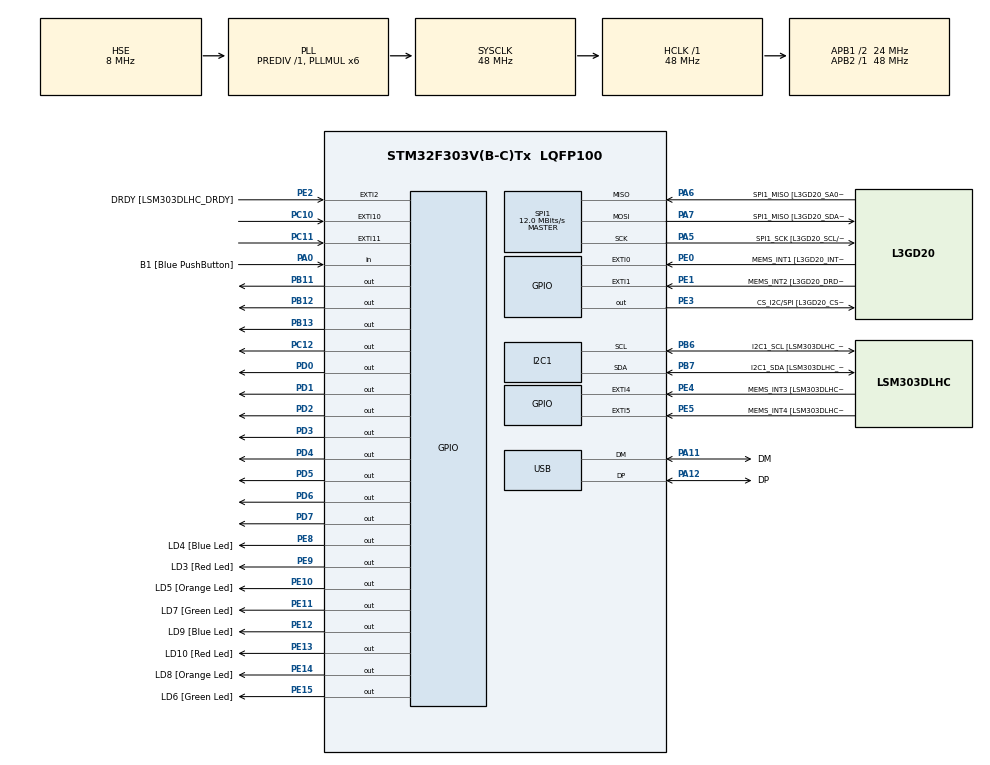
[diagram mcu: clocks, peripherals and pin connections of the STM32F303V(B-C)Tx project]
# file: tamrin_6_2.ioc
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I2C1.Timing=0x2000090E
I2C1.Timing-I2C=0x2000090E
Mcu.Family=STM32F3
Mcu.Name=STM32F303V(B-C)Tx
Mcu.Package=LQFP100
NVIC.EXTI15_10_IRQn=true\:0\:0\:false\:false\:true\:true\:true\:true
NVIC.PriorityGroup=NVIC_PRIORITYGROUP_0
PA0.GPIO_Label=B1 [Blue PushButton]
PA0.Signal=GPIO_Input
PA11.GPIO_Label=DM
PA11.Mode=Device
PA11.Signal=USB_DM
PA12.GPIO_Label=DP
PA12.Mode=Device
PA12.Signal=USB_DP
PA13.GPIO_Label=SWDIO
PA13.Mode=Serial_Wire
PA13.Signal=SYS_JTMS-SWDIO
PA14.GPIO_Label=SWCLK
PA14.Mode=Serial_Wire
PA14.Signal=SYS_JTCK-SWCLK
PA5.GPIO_Label=SPI1_SCK [L3GD20_SCL/SPC]
PA5.Mode=Full_Duplex_Master
PA5.Signal=SPI1_SCK
PA6.GPIO_Label=SPI1_MISO [L3GD20_SA0/SDO]
PA6.Mode=Full_Duplex_Master
PA6.Signal=SPI1_MISO
PA7.GPIO_Label=SPI1_MISO [L3GD20_SDA/SDI/SDO]
PA7.Mode=Full_Duplex_Master
PA7.Signal=SPI1_MOSI
PB11.Signal=GPIO_Output
PB12.Signal=GPIO_Output
PB13.Signal=GPIO_Output
PB3.GPIO_Label=SWO
PB3.Signal=SYS_JTDO-TRACESWO
PB6.GPIO_Label=I2C1_SCL [LSM303DLHC_SCL]
PB6.GPIO_Pu=GPIO_PULLUP
PB6.Mode=I2C
PB6.Signal=I2C1_SCL
PB7.GPIO_Label=I2C1_SDA [LSM303DLHC_SDA]
PB7.GPIO_Pu=GPIO_PULLUP
PB7.Mode=I2C
PB7.Signal=I2C1_SDA
PC10.GPIO_PuPd=GPIO_PULLDOWN
PC10.Signal=GPXTI10
PC11.GPIO_PuPd=GPIO_PULLDOWN
PC11.Signal=GPXTI11
PC12.Signal=GPIO_Output
PC14-OSC32_IN.GPIO_Label=OSC32_IN
PC14-OSC32_IN.Signal=RCC_OSC32_IN
PC15-OSC32_OUT.GPIO_Label=OSC32_OUT
PC15-OSC32_OUT.Signal=RCC_OSC32_OUT
PD0.Signal=GPIO_Output
PD1.Signal=GPIO_Output
PD2.Signal=GPIO_Output
PD3.Signal=GPIO_Output
PD4.Signal=GPIO_Output
PD5.Signal=GPIO_Output
PD6.Signal=GPIO_Output
PD7.Signal=GPIO_Output
PE0.GPIO_Label=MEMS_INT1 [L3GD20_INT1]
PE0.GPIO_ModeDefaultEXTI=GPIO_MODE_EVT_RISING
PE0.Signal=GPXTI0
PE1.GPIO_Label=MEMS_INT2 [L3GD20_DRDY/INT2]
PE1.GPIO_ModeDefaultEXTI=GPIO_MODE_EVT_RISING
PE1.Signal=GPXTI1
PE10.GPIO_Label=LD5 [Orange Led]
PE10.Signal=GPIO_Output
PE11.GPIO_Label=LD7 [Green Led]
PE11.Signal=GPIO_Output
PE12.GPIO_Label=LD9 [Blue Led]
PE12.Signal=GPIO_Output
PE13.GPIO_Label=LD10 [Red Led]
PE13.Signal=GPIO_Output
PE14.GPIO_Label=LD8 [Orange Led]
PE14.Signal=GPIO_Output
PE15.GPIO_Label=LD6 [Green Led]
PE15.Signal=GPIO_Output
PE2.GPIO_Label=DRDY [LSM303DLHC_DRDY]
PE2.GPIO_ModeDefaultEXTI=GPIO_MODE_EVT_RISING
PE2.Signal=GPXTI2
PE3.GPIO_Label=CS_I2C/SPI [L3GD20_CS_I2C/SPI]
PE3.Signal=GPIO_Output
PE4.GPIO_Label=MEMS_INT3 [LSM303DLHC_INT1]
PE4.GPIO_ModeDefaultEXTI=GPIO_MODE_EVT_RISING
PE4.Signal=GPXTI4
PE5.GPIO_Label=MEMS_INT4 [LSM303DLHC_INT2]
PE5.GPIO_ModeDefaultEXTI=GPIO_MODE_EVT_RISING
PE5.Signal=GPXTI5
PE8.GPIO_Label=LD4 [Blue Led]
PE8.Signal=GPIO_Output
PE9.GPIO_Label=LD3 [Red Led]
PE9.Signal=GPIO_Output
PF0-OSC_IN.GPIO_Label=OSC_IN
PF0-OSC_IN.Mode=HSE-External-Clock-Source
PF0-OSC_IN.Signal=RCC_OSC_IN
PF1-OSC_OUT.GPIO_Label=OSC_OUT
PF1-OSC_OUT.Signal=RCC_OSC_OUT
ProjectManager.HeapSize=0x200
ProjectManager.StackSize=0x400
ProjectManager.TargetToolchain=STM32CubeIDE
RCC.AHBFreq_Value=48000000
RCC.APB1CLKDivider=RCC_HCLK_DIV2
RCC.APB1Freq_Value=24000000
RCC.APB1TimFreq_Value=48000000
RCC.APB2Freq_Value=48000000
RCC.APB2TimFreq_Value=48000000
RCC.CortexFreq_Value=48000000
RCC.HCLKFreq_Value=48000000
RCC.HSE_VALUE=8000000
RCC.HSI_VALUE=8000000
RCC.LSE_VALUE=32768
RCC.PLLMUL=RCC_PLL_MUL6
RCC.SYSCLKFreq_VALUE=48000000
RCC.SYSCLKSourceVirtual=RCC_SYSCLKSOURCE_PLLCLK
RCC.USBFreq_Value=48000000
SPI1.BaudRatePrescaler=SPI_BAUDRATEPRESCALER_4
SPI1.BaudRatePrescaler-Full_Duplex_Master=SPI_BAUDRATEPRESCALER_2
SPI1.CalculateBaudRate=12.0 MBits/s
SPI1.CalculateBaudRate-Full_Duplex_Master=24.0 MBits/s
SPI1.Direction=SPI_DIRECTION_2LINES
SPI1.Mode=SPI_MODE_MASTER
SPI1.Mode-Full_Duplex_Master=SPI_MODE_MASTER
SPI1.VirtualType=VM_MASTER
board=STM32F3DISCOVERY

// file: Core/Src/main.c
/* USER CODE BEGIN Header */
/**
  ******************************************************************************
  * @file           : main.c
  * @brief          : Main program body
  ******************************************************************************
  * @attention
  *
  * Copyright (c) 2024 STMicroelectronics.
  * All rights reserved.
  *
  * This software is licensed under terms that can be found in the LICENSE file
  * in the root directory of this software component.
  * If no LICENSE file comes with this software, it is provided AS-IS.
  *
  ******************************************************************************
  */
/* USER CODE END Header */
#include "main.h"

I2C_HandleTypeDef hi2c1;

SPI_HandleTypeDef hspi1;

PCD_HandleTypeDef hpcd_USB_FS;

void SystemClock_Config(void);
static void MX_GPIO_Init(void);
static void MX_I2C1_Init(void);
static void MX_SPI1_Init(void);
static void MX_USB_PCD_Init(void);

/* USER CODE BEGIN 0 */

GPIO_TypeDef * pin = GPIOD;
uint16_t bit0 = GPIO_PIN_4;
uint16_t bit1 = GPIO_PIN_5;
uint16_t bit2 = GPIO_PIN_6;
uint16_t bit3 = GPIO_PIN_7;
uint16_t bitActive0 = GPIO_PIN_2;
uint16_t bitActive1 = GPIO_PIN_3;
uint16_t bitActive2 = GPIO_PIN_1;
uint16_t bitActive3 = GPIO_PIN_0;

uint8_t digits[4] = {0, 1, 2, 3};

uint8_t selected_digit = 0;

void display_digit(uint8_t num, uint8_t digit, uint8_t dcpoint)
{
	// Which of the four digits is this
	// Active high 7-segment, low pin -> digit on
    HAL_GPIO_WritePin(pin, bitActive0, digit == 0 ? 0 : 1);
    HAL_GPIO_WritePin(pin, bitActive1, digit == 1 ? 0 : 1);
    HAL_GPIO_WritePin(pin, bitActive2, digit == 2 ? 0 : 1);
    HAL_GPIO_WritePin(pin, bitActive3, digit == 3 ? 0 : 1);

    // ABCD BCD Output
    HAL_GPIO_WritePin(pin, bit0, (num == 1 || num == 3 || num == 5 || num == 7 || num == 9));
    HAL_GPIO_WritePin(pin, bit1, (num == 2 || num == 3 || num == 6 || num == 7));
    HAL_GPIO_WritePin(pin, bit2, (num == 4 || num == 5 || num == 6 || num == 7));
    HAL_GPIO_WritePin(pin, bit3, (num == 8 || num == 9));

    // Is decimal point on or off for digit?
    HAL_GPIO_WritePin(GPIOC, GPIO_PIN_12, dcpoint == 1 ? 1 : 0);
    HAL_Delay(5);
}

void HAL_GPIO_EXTI_Callback(uint16_t GPIO_Pin)
{
	static last_interrupt = 0;
	if(HAL_GetTick() - last_interrupt < 200)
		return;

	last_interrupt = HAL_GetTick();
	if(GPIO_Pin == GPIO_PIN_11) {
//		HAL_GPIO_TogglePin(GPIOE, GPIO_PIN_10);

		digits[selected_digit] = (digits[selected_digit] + 1) % 10;
	}
	else if(GPIO_Pin == GPIO_PIN_10) {
//		HAL_GPIO_TogglePin(GPIOE, GPIO_PIN_11);

		selected_digit = (selected_digit + 1) % 4;
	}
}

/* USER CODE END 0 */

int main(void)
{

  /* MCU Configuration--------------------------------------------------------*/

  /* Reset of all peripherals, Initializes the Flash interface and the Systick. */
  HAL_Init();

  /* Configure the system clock */
  SystemClock_Config();

  /* Initialize all configured peripherals */
  MX_GPIO_Init();
  MX_I2C1_Init();
  MX_SPI1_Init();
  MX_USB_PCD_Init();

  /* Infinite loop */
  /* USER CODE BEGIN WHILE */
  HAL_GPIO_WritePin(GPIOB, GPIO_PIN_11, 0);
  HAL_GPIO_WritePin(GPIOB, GPIO_PIN_12, 0);
  HAL_GPIO_WritePin(GPIOB, GPIO_PIN_13, 0);
  while (1)
  {

	  for(int i = 0; i < 4; ++i)
		  display_digit(digits[i], i, selected_digit == i);
//
//	  HAL_GPIO_WritePin(GPIOE, GPIO_PIN_8, HAL_GPIO_ReadPin(GPIOC, GPIO_PIN_11));
//	  HAL_GPIO_WritePin(GPIOE, GPIO_PIN_9, HAL_GPIO_ReadPin(GPIOC, GPIO_PIN_10));

//	  }

    /* USER CODE END WHILE */

  }
}

void SystemClock_Config(void)
{
  RCC_OscInitTypeDef RCC_OscInitStruct = {0};
  RCC_ClkInitTypeDef RCC_ClkInitStruct = {0};
  RCC_PeriphCLKInitTypeDef PeriphClkInit = {0};

  /** Initializes the RCC Oscillators according to the specified parameters
  * in the RCC_OscInitTypeDef structure.
  */
  RCC_OscInitStruct.OscillatorType = RCC_OSCILLATORTYPE_HSI|RCC_OSCILLATORTYPE_HSE;
  RCC_OscInitStruct.HSEState = RCC_HSE_BYPASS;
  RCC_OscInitStruct.HSEPredivValue = RCC_HSE_PREDIV_DIV1;
  RCC_OscInitStruct.HSIState = RCC_HSI_ON;
  RCC_OscInitStruct.HSICalibrationValue = RCC_HSICALIBRATION_DEFAULT;
  RCC_OscInitStruct.PLL.PLLState = RCC_PLL_ON;
  RCC_OscInitStruct.PLL.PLLSource = RCC_PLLSOURCE_HSE;
  RCC_OscInitStruct.PLL.PLLMUL = RCC_PLL_MUL6;
  if (HAL_RCC_OscConfig(&RCC_OscInitStruct) != HAL_OK)
  {
    Error_Handler();
  }

  /** Initializes the CPU, AHB and APB buses clocks
  */
  RCC_ClkInitStruct.ClockType = RCC_CLOCKTYPE_HCLK|RCC_CLOCKTYPE_SYSCLK
                              |RCC_CLOCKTYPE_PCLK1|RCC_CLOCKTYPE_PCLK2;
  RCC_ClkInitStruct.SYSCLKSource = RCC_SYSCLKSOURCE_PLLCLK;
  RCC_ClkInitStruct.AHBCLKDivider = RCC_SYSCLK_DIV1;
  RCC_ClkInitStruct.APB1CLKDivider = RCC_HCLK_DIV2;
  RCC_ClkInitStruct.APB2CLKDivider = RCC_HCLK_DIV1;

  if (HAL_RCC_ClockConfig(&RCC_ClkInitStruct, FLASH_LATENCY_1) != HAL_OK)
  {
    Error_Handler();
  }
  PeriphClkInit.PeriphClockSelection = RCC_PERIPHCLK_USB|RCC_PERIPHCLK_I2C1;
  PeriphClkInit.I2c1ClockSelection = RCC_I2C1CLKSOURCE_HSI;
  PeriphClkInit.USBClockSelection = RCC_USBCLKSOURCE_PLL;
  if (HAL_RCCEx_PeriphCLKConfig(&PeriphClkInit) != HAL_OK)
  {
    Error_Handler();
  }
}

static void MX_I2C1_Init(void)
{

  hi2c1.Instance = I2C1;
  hi2c1.Init.Timing = 0x2000090E;
  hi2c1.Init.OwnAddress1 = 0;
  hi2c1.Init.AddressingMode = I2C_ADDRESSINGMODE_7BIT;
  hi2c1.Init.DualAddressMode = I2C_DUALADDRESS_DISABLE;
  hi2c1.Init.OwnAddress2 = 0;
  hi2c1.Init.OwnAddress2Masks = I2C_OA2_NOMASK;
  hi2c1.Init.GeneralCallMode = I2C_GENERALCALL_DISABLE;
  hi2c1.Init.NoStretchMode = I2C_NOSTRETCH_DISABLE;
  if (HAL_I2C_Init(&hi2c1) != HAL_OK)
  {
    Error_Handler();
  }

  /** Configure Analogue filter
  */
  if (HAL_I2CEx_ConfigAnalogFilter(&hi2c1, I2C_ANALOGFILTER_ENABLE) != HAL_OK)
  {
    Error_Handler();
  }

  /** Configure Digital filter
  */
  if (HAL_I2CEx_ConfigDigitalFilter(&hi2c1, 0) != HAL_OK)
  {
    Error_Handler();
  }

}

static void MX_SPI1_Init(void)
{

  /* SPI1 parameter configuration*/
  hspi1.Instance = SPI1;
  hspi1.Init.Mode = SPI_MODE_MASTER;
  hspi1.Init.Direction = SPI_DIRECTION_2LINES;
  hspi1.Init.DataSize = SPI_DATASIZE_4BIT;
  hspi1.Init.CLKPolarity = SPI_POLARITY_LOW;
  hspi1.Init.CLKPhase = SPI_PHASE_1EDGE;
  hspi1.Init.NSS = SPI_NSS_SOFT;
  hspi1.Init.BaudRatePrescaler = SPI_BAUDRATEPRESCALER_4;
  hspi1.Init.FirstBit = SPI_FIRSTBIT_MSB;
  hspi1.Init.TIMode = SPI_TIMODE_DISABLE;
  hspi1.Init.CRCCalculation = SPI_CRCCALCULATION_DISABLE;
  hspi1.Init.CRCPolynomial = 7;
  hspi1.Init.CRCLength = SPI_CRC_LENGTH_DATASIZE;
  hspi1.Init.NSSPMode = SPI_NSS_PULSE_ENABLE;
  if (HAL_SPI_Init(&hspi1) != HAL_OK)
  {
    Error_Handler();
  }

}

static void MX_USB_PCD_Init(void)
{

  hpcd_USB_FS.Instance = USB;
  hpcd_USB_FS.Init.dev_endpoints = 8;
  hpcd_USB_FS.Init.speed = PCD_SPEED_FULL;
  hpcd_USB_FS.Init.phy_itface = PCD_PHY_EMBEDDED;
  hpcd_USB_FS.Init.low_power_enable = DISABLE;
  hpcd_USB_FS.Init.battery_charging_enable = DISABLE;
  if (HAL_PCD_Init(&hpcd_USB_FS) != HAL_OK)
  {
    Error_Handler();
  }

}

static void MX_GPIO_Init(void)
{
  GPIO_InitTypeDef GPIO_InitStruct = {0};

  /* GPIO Ports Clock Enable */
  __HAL_RCC_GPIOE_CLK_ENABLE();
  __HAL_RCC_GPIOC_CLK_ENABLE();
  __HAL_RCC_GPIOF_CLK_ENABLE();
  __HAL_RCC_GPIOA_CLK_ENABLE();
  __HAL_RCC_GPIOD_CLK_ENABLE();
  __HAL_RCC_GPIOB_CLK_ENABLE();

  /*Configure GPIO pin Output Level */
  HAL_GPIO_WritePin(GPIOE, CS_I2C_SPI_Pin|LD4_Pin|LD3_Pin|LD5_Pin
                          |LD7_Pin|LD9_Pin|LD10_Pin|LD8_Pin
                          |LD6_Pin, GPIO_PIN_RESET);

  /*Configure GPIO pin Output Level */
  HAL_GPIO_WritePin(GPIOC, GPIO_PIN_12, GPIO_PIN_RESET);

  /*Configure GPIO pin Output Level */
  HAL_GPIO_WritePin(GPIOD, GPIO_PIN_0|GPIO_PIN_1|GPIO_PIN_2|GPIO_PIN_3
                          |GPIO_PIN_4|GPIO_PIN_5|GPIO_PIN_6|GPIO_PIN_7, GPIO_PIN_RESET);

  /*Configure GPIO pins : DRDY_Pin MEMS_INT3_Pin MEMS_INT4_Pin MEMS_INT1_Pin
                           MEMS_INT2_Pin */
  GPIO_InitStruct.Pin = DRDY_Pin|MEMS_INT3_Pin|MEMS_INT4_Pin|MEMS_INT1_Pin
                          |MEMS_INT2_Pin;
  GPIO_InitStruct.Mode = GPIO_MODE_EVT_RISING;
  GPIO_InitStruct.Pull = GPIO_NOPULL;
  HAL_GPIO_Init(GPIOE, &GPIO_InitStruct);

  /*Configure GPIO pins : CS_I2C_SPI_Pin LD4_Pin LD3_Pin LD5_Pin
                           LD7_Pin LD9_Pin LD10_Pin LD8_Pin
                           LD6_Pin */
  GPIO_InitStruct.Pin = CS_I2C_SPI_Pin|LD4_Pin|LD3_Pin|LD5_Pin
                          |LD7_Pin|LD9_Pin|LD10_Pin|LD8_Pin
                          |LD6_Pin;
  GPIO_InitStruct.Mode = GPIO_MODE_OUTPUT_PP;
  GPIO_InitStruct.Pull = GPIO_NOPULL;
  GPIO_InitStruct.Speed = GPIO_SPEED_FREQ_LOW;
  HAL_GPIO_Init(GPIOE, &GPIO_InitStruct);

  /*Configure GPIO pin : B1_Pin */
  GPIO_InitStruct.Pin = B1_Pin;
  GPIO_InitStruct.Mode = GPIO_MODE_INPUT;
  GPIO_InitStruct.Pull = GPIO_NOPULL;
  HAL_GPIO_Init(B1_GPIO_Port, &GPIO_InitStruct);

  /*Configure GPIO pins : PC10 PC11 */
  GPIO_InitStruct.Pin = GPIO_PIN_10|GPIO_PIN_11;
  GPIO_InitStruct.Mode = GPIO_MODE_IT_RISING;
  GPIO_InitStruct.Pull = GPIO_PULLDOWN;
  HAL_GPIO_Init(GPIOC, &GPIO_InitStruct);

  /*Configure GPIO pin : PC12 */
  GPIO_InitStruct.Pin = GPIO_PIN_12;
  GPIO_InitStruct.Mode = GPIO_MODE_OUTPUT_PP;
  GPIO_InitStruct.Pull = GPIO_NOPULL;
  GPIO_InitStruct.Speed = GPIO_SPEED_FREQ_LOW;
  HAL_GPIO_Init(GPIOC, &GPIO_InitStruct);

  /*Configure GPIO pins : PD0 PD1 PD2 PD3
                           PD4 PD5 PD6 PD7 */
  GPIO_InitStruct.Pin = GPIO_PIN_0|GPIO_PIN_1|GPIO_PIN_2|GPIO_PIN_3
                          |GPIO_PIN_4|GPIO_PIN_5|GPIO_PIN_6|GPIO_PIN_7;
  GPIO_InitStruct.Mode = GPIO_MODE_OUTPUT_PP;
  GPIO_InitStruct.Pull = GPIO_NOPULL;
  GPIO_InitStruct.Speed = GPIO_SPEED_FREQ_LOW;
  HAL_GPIO_Init(GPIOD, &GPIO_InitStruct);

  /* EXTI interrupt init*/
  HAL_NVIC_SetPriority(EXTI15_10_IRQn, 0, 0);
  HAL_NVIC_EnableIRQ(EXTI15_10_IRQn);

}

void Error_Handler(void)
{
  __disable_irq();
  while (1)
  {
  }
}
